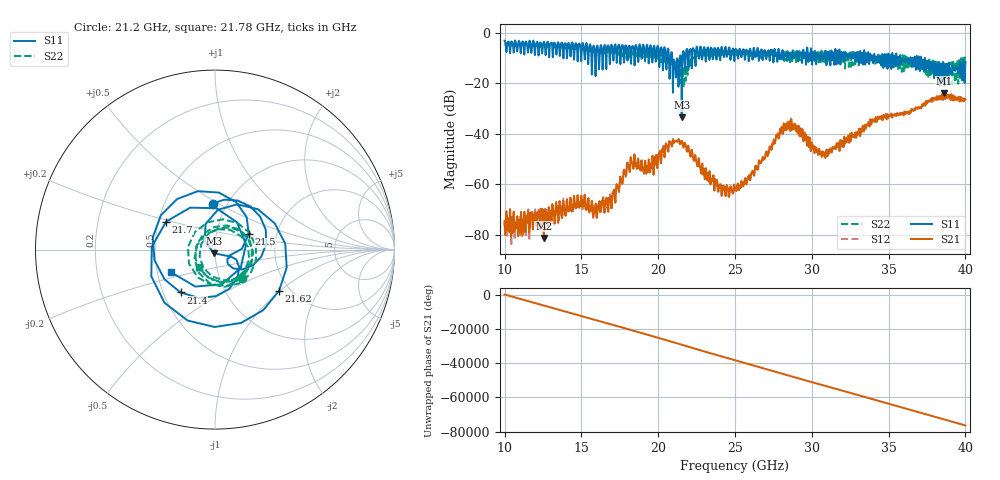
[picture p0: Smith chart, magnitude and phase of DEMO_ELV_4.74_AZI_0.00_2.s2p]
! 11/3/2026 12:46:46 PM
! C:\ANRITSUVNA\TEMP\TEMP.S2P
! CHANNEL.1
! TR.MEASUREMENT
! RAW.DATA
# HZ S RI R 50.0
! FREQ.HZ  S11RE  S11IM  S21RE  S21IM  S12RE  S12IM  S22RE  S22IM
!; PortSelection: Port_12
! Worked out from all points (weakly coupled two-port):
!   3001 points, 10 GHz to 40 GHz, reference 50 ohm
!   highest |S21| = -23.90 dB at 38.62 GHz (marker M1); lowest = -81.3 dB at 12.55 GHz (marker M2)
!   lowest |S11| = -33.5 dB at 21.53 GHz (marker M3), VSWR 1.04, Z = 49.2 - j1.96 ohm
!   |S11| at or under -10 dB: 20.92 GHz to 21.4 GHz (489.9 MHz wide, 2.32 % of centre); 35.78 GHz to 36.44 GHz (663.6 MHz wide, 1.84 % of centre); 37.37 GHz to end of sweep (the widest 3 of 115)
!   |S22| runs from -21.6 to -4.5 dB; largest |S21 - S12| = 0.079
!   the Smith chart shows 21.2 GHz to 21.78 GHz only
!   S11 on the Smith chart (normalised r, x): 21.2 GHz: 0.85, +0.47; 21.4 GHz: 0.61, -0.32; 21.5 GHz: 1.44, +0.26; 21.62 GHz: 1.76, -0.98; 21.7 GHz: 0.55, +0.19; 21.78 GHz: 0.59, -0.16
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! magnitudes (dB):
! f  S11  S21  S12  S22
! 10 GHz  -3.2  -76.1  -75.0  -4.7
! 12.55 GHz  -3.6  -81.3  -77.9  -5.2
! 15 GHz  -10.2  -64.6  -64.5  -6.5
! 15.9 GHz  -13.3  -70.5  -69.8  -6.5
! 16.85 GHz  -12.5  -65.1  -65.8  -7.4
! 18.11 GHz  -5.2  -53.7  -54.2  -8.2
! 20 GHz  -5.7  -49.0  -49.2  -7.8
! 21.2 GHz  -11.8  -43.0  -43.1  -13.2
! 21.4 GHz  -10.3  -44.0  -43.9  -20.1
! 21.5 GHz  -13.7  -42.9  -42.9  -17.0
! 21.53 GHz  -33.5  -42.9  -42.8  -19.3
! 21.62 GHz  -7.5  -45.2  -45.0  -15.0
! 21.7 GHz  -10.1  -44.0  -43.8  -14.9
! 21.78 GHz  -11.2  -44.4  -44.4  -17.5
! 22.69 GHz  -8.9  -52.7  -52.6  -8.0
! 25 GHz  -7.5  -62.0  -62.0  -8.3
! 28.3 GHz  -8.4  -36.2  -35.9  -8.8
! 30 GHz  -10.6  -43.6  -43.6  -8.0
! 30.77 GHz  -9.4  -48.7  -48.6  -8.4
! 35 GHz  -8.5  -33.4  -33.3  -11.0
! 38.62 GHz  -21.1  -23.9  -23.8  -16.7
! 40 GHz  -11.6  -26.5  -26.5  -12.3
